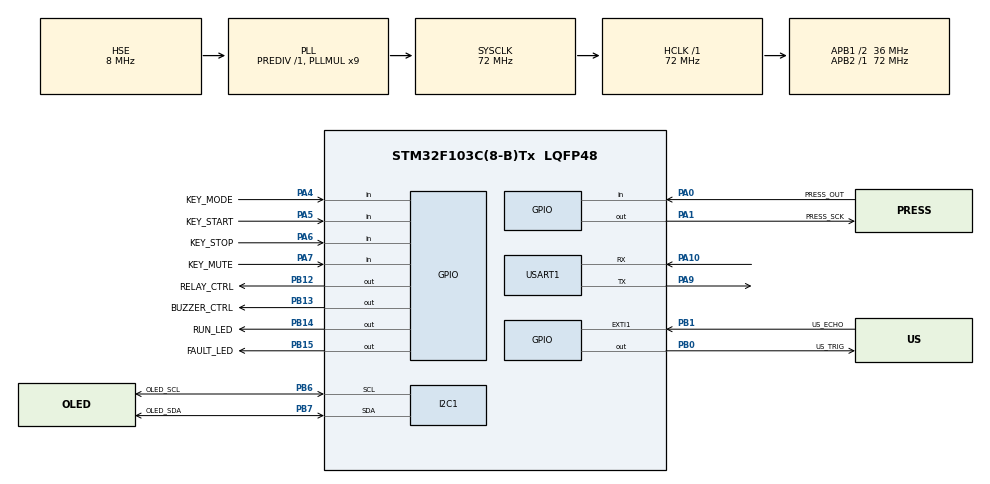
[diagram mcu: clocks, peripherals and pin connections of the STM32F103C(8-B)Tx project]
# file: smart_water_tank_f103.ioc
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Mcu.Family=STM32F1
Mcu.Name=STM32F103C(8-B)Tx
Mcu.Package=LQFP48
NVIC.EXTI1_IRQn=true\:0\:0\:false\:false\:true\:true\:true\:true
NVIC.PriorityGroup=NVIC_PRIORITYGROUP_4
NVIC.USART1_IRQn=true\:0\:0\:false\:false\:true\:true\:true\:true
PA0-WKUP.GPIO_Label=PRESS_OUT
PA0-WKUP.GPIO_PuPd=GPIO_NOPULL
PA0-WKUP.Signal=GPIO_Input
PA1.GPIO_Label=PRESS_SCK
PA1.Signal=GPIO_Output
PA10.Mode=Asynchronous
PA10.Signal=USART1_RX
PA13.Mode=Serial_Wire
PA13.Signal=SYS_JTMS-SWDIO
PA14.Mode=Serial_Wire
PA14.Signal=SYS_JTCK-SWCLK
PA4.GPIO_Label=KEY_MODE
PA4.Signal=GPIO_Input
PA5.GPIO_Label=KEY_START
PA5.Signal=GPIO_Input
PA6.GPIO_Label=KEY_STOP
PA6.Signal=GPIO_Input
PA7.GPIO_Label=KEY_MUTE
PA7.Signal=GPIO_Input
PA9.Mode=Asynchronous
PA9.Signal=USART1_TX
PB0.GPIO_Label=US_TRIG
PB0.GPIO_Speed=GPIO_SPEED_FREQ_LOW
PB0.Signal=GPIO_Output
PB1.GPIO_Label=US_ECHO
PB1.GPIO_ModeDefaultEXTI=GPIO_MODE_IT_RISING_FALLING
PB1.Signal=GPXTI1
PB12.GPIO_Label=RELAY_CTRL
PB12.Signal=GPIO_Output
PB13.GPIO_Label=BUZZER_CTRL
PB13.Signal=GPIO_Output
PB14.GPIO_Label=RUN_LED
PB14.Signal=GPIO_Output
PB15.GPIO_Label=FAULT_LED
PB15.Signal=GPIO_Output
PB6.GPIO_Label=OLED_SCL
PB6.GPIO_Speed=GPIO_SPEED_FREQ_MEDIUM
PB6.Mode=I2C
PB6.Signal=I2C1_SCL
PB7.GPIO_Label=OLED_SDA
PB7.GPIO_Mode=GPIO_MODE_AF_OD
PB7.GPIO_Speed=GPIO_SPEED_FREQ_MEDIUM
PB7.Mode=I2C
PB7.Signal=I2C1_SDA
PD0-OSC_IN.Mode=HSE-External-Oscillator
PD0-OSC_IN.Signal=RCC_OSC_IN
PD1-OSC_OUT.Mode=HSE-External-Oscillator
PD1-OSC_OUT.Signal=RCC_OSC_OUT
ProjectManager.HeapSize=0x200
ProjectManager.StackSize=0x400
ProjectManager.TargetToolchain=CMake
RCC.AHBFreq_Value=72000000
RCC.APB1CLKDivider=RCC_HCLK_DIV2
RCC.APB1Freq_Value=36000000
RCC.APB1TimFreq_Value=72000000
RCC.APB2Freq_Value=72000000
RCC.APB2TimFreq_Value=72000000
RCC.HCLKFreq_Value=72000000
RCC.PLLMUL=RCC_PLL_MUL9
RCC.PLLSourceVirtual=RCC_PLLSOURCE_HSE
RCC.SYSCLKFreq_VALUE=72000000
RCC.SYSCLKSource=RCC_SYSCLKSOURCE_PLLCLK
RCC.USBFreq_Value=72000000
TIM2.Prescaler=71
USART1.VirtualMode=VM_ASYNC
VP_TIM2_VS_ClockSourceINT.Mode=Internal
board=custom

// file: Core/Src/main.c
/* USER CODE BEGIN Header */
/**
  ******************************************************************************
  * @file           : main.c
  * @brief          : Main program body
  ******************************************************************************
  * @attention
  *
  * Copyright (c) 2026 STMicroelectronics.
  * All rights reserved.
  *
  * This software is licensed under terms that can be found in the LICENSE file
  * in the root directory of this software component.
  * If no LICENSE file comes with this software, it is provided AS-IS.
  *
  ******************************************************************************
  */
/* USER CODE END Header */
#include "main.h"
#include "i2c.h"
#include "tim.h"
#include "usart.h"
#include "gpio.h"

/* USER CODE BEGIN Includes */
#include "APP/app.h"

/* USER CODE END Includes */

void SystemClock_Config(void);

int main(void)
{

  /* MCU Configuration--------------------------------------------------------*/

  /* Reset of all peripherals, Initializes the Flash interface and the Systick. */
  HAL_Init();

  /* Configure the system clock */
  SystemClock_Config();

  /* Initialize all configured peripherals */
  MX_GPIO_Init();
  MX_TIM2_Init();
  MX_USART1_UART_Init();
  MX_I2C1_Init();
  /* USER CODE BEGIN 2 */
  App_Init();

  /* USER CODE END 2 */

  /* Infinite loop */
  while (1)
  {

    /* USER CODE BEGIN 3 */
    App_Run();
  }
  /* USER CODE END 3 */
}

void SystemClock_Config(void)
{
  RCC_OscInitTypeDef RCC_OscInitStruct = {0};
  RCC_ClkInitTypeDef RCC_ClkInitStruct = {0};

  /** Initializes the RCC Oscillators according to the specified parameters
  * in the RCC_OscInitTypeDef structure.
  */
  RCC_OscInitStruct.OscillatorType = RCC_OSCILLATORTYPE_HSE;
  RCC_OscInitStruct.HSEState = RCC_HSE_ON;
  RCC_OscInitStruct.HSEPredivValue = RCC_HSE_PREDIV_DIV1;
  RCC_OscInitStruct.HSIState = RCC_HSI_ON;
  RCC_OscInitStruct.PLL.PLLState = RCC_PLL_ON;
  RCC_OscInitStruct.PLL.PLLSource = RCC_PLLSOURCE_HSE;
  RCC_OscInitStruct.PLL.PLLMUL = RCC_PLL_MUL9;
  if (HAL_RCC_OscConfig(&RCC_OscInitStruct) != HAL_OK)
  {
    Error_Handler();
  }

  /** Initializes the CPU, AHB and APB buses clocks
  */
  RCC_ClkInitStruct.ClockType = RCC_CLOCKTYPE_HCLK|RCC_CLOCKTYPE_SYSCLK
                              |RCC_CLOCKTYPE_PCLK1|RCC_CLOCKTYPE_PCLK2;
  RCC_ClkInitStruct.SYSCLKSource = RCC_SYSCLKSOURCE_PLLCLK;
  RCC_ClkInitStruct.AHBCLKDivider = RCC_SYSCLK_DIV1;
  RCC_ClkInitStruct.APB1CLKDivider = RCC_HCLK_DIV2;
  RCC_ClkInitStruct.APB2CLKDivider = RCC_HCLK_DIV1;

  if (HAL_RCC_ClockConfig(&RCC_ClkInitStruct, FLASH_LATENCY_2) != HAL_OK)
  {
    Error_Handler();
  }
}

/* USER CODE BEGIN 4 */
void HAL_GPIO_EXTI_Callback(uint16_t GPIO_Pin)
{
  App_OnGpioExti(GPIO_Pin);
}

void HAL_UART_RxCpltCallback(UART_HandleTypeDef *huart)
{
  App_OnUartRxComplete(huart);
}

void HAL_UART_ErrorCallback(UART_HandleTypeDef *huart)
{
  App_OnUartError(huart);
}

/* USER CODE END 4 */

void Error_Handler(void)
{
  /* USER CODE BEGIN Error_Handler_Debug */
  GPIO_InitTypeDef GPIO_InitStruct = {0};
  volatile uint32_t delay;

  __disable_irq();

  __HAL_RCC_GPIOB_CLK_ENABLE();
  HAL_GPIO_WritePin(GPIOB,
                    RELAY_CTRL_Pin|BUZZER_CTRL_Pin|RUN_LED_Pin|FAULT_LED_Pin,
                    GPIO_PIN_RESET);
  GPIO_InitStruct.Pin = RELAY_CTRL_Pin|BUZZER_CTRL_Pin|RUN_LED_Pin|FAULT_LED_Pin;
  GPIO_InitStruct.Mode = GPIO_MODE_OUTPUT_PP;
  GPIO_InitStruct.Pull = GPIO_NOPULL;
  GPIO_InitStruct.Speed = GPIO_SPEED_FREQ_LOW;
  HAL_GPIO_Init(GPIOB, &GPIO_InitStruct);

  while (1)
  {
    HAL_GPIO_TogglePin(FAULT_LED_GPIO_Port, FAULT_LED_Pin);
    for (delay = 0U; delay < 600000U; delay++)
    {
      __NOP();
    }
  }
  /* USER CODE END Error_Handler_Debug */
}
